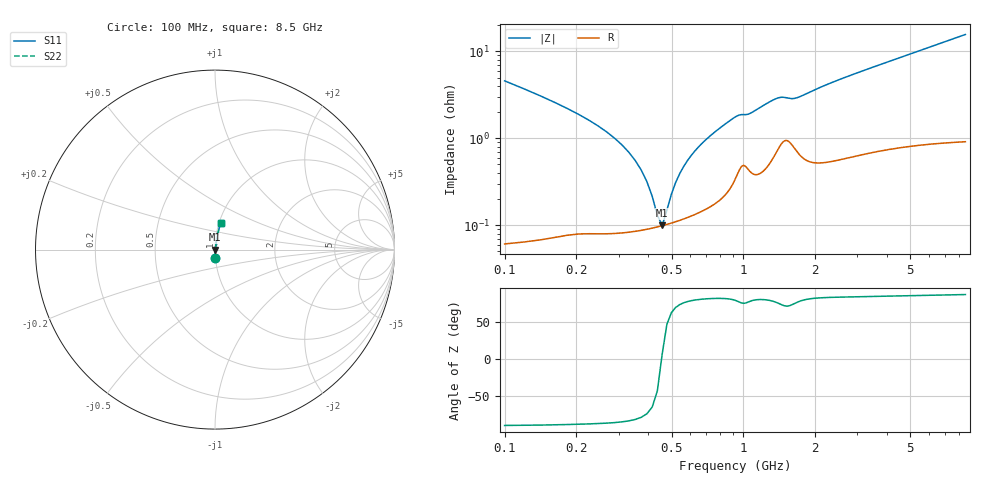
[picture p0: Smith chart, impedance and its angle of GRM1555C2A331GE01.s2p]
!Murata Part Number: GRM1555C2A331GE01
!These Parameters are Measured in Series Mode Connection
!Data Generated on Mar 30, 2021
!  o--ll--o
!Port1  Port2
!  o------o
!Operation Temp=25[degC], DC Bias Voltage=0[V]
!Freq. Start=100[MHz] Stop=9[GHz] 401[Steps]
# Hz S RI R 50
!Freq.(Hz) S11(Real) S11(Imag) S21(Real) S21(Imag) S12(Real) S12(Imag) S22(Real) S22(Imag)
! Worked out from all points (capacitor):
!   401 points, 100 MHz to 8.5 GHz, reference 50 ohm
!   read as one part in series: C = 331 pF near 142 MHz
!   lowest |Z| = 99.4 mohm at 457 MHz (marker M1)
!   series resonance near 454.5 MHz, so ESL is about 370 pH
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1e8  0.0027 -0.0456  0.9973 0.0456  0.9973 0.0456  0.0027 -0.0456
1.42e8  0.00161 -0.0305  0.9984 0.0305  0.9984 0.0305  0.00161 -0.0305
3.1e8  0.000884 -0.00833  0.9991 0.00833  0.9991 0.00833  0.000884 -0.00833
3.73e8  0.00089 -0.00423  0.9991 0.00423  0.9991 0.00423  0.00089 -0.00423
4.15e8  0.000928 -0.00194  0.9991 0.00194  0.9991 0.00194  0.000928 -0.00194
4.36e8  0.000955 -0.000886  0.999 0.000886  0.999 0.000886  0.000955 -0.000886
4.57e8  0.000986 0.000117  0.999 -0.000117  0.999 -0.000117  0.000986 0.000117
4.78e8  0.00102 0.00108  0.999 -0.00108  0.999 -0.00108  0.00102 0.00108
5.41e8  0.00115 0.00374  0.9989 -0.00374  0.9989 -0.00374  0.00115 0.00374
6.04e8  0.00131 0.00618  0.9987 -0.00618  0.9987 -0.00618  0.00131 0.00618
6.67e8  0.00151 0.00846  0.9985 -0.00846  0.9985 -0.00846  0.00151 0.00846
7.72e8  0.00196 0.0121  0.998 -0.0121  0.998 -0.0121  0.00196 0.0121
9.4e8  0.00407 0.0175  0.9959 -0.0175  0.9959 -0.0175  0.00407 0.0175
1.36e9  0.00726 0.0272  0.9927 -0.0272  0.9927 -0.0272  0.00726 0.0272
1.507e9  0.0101 0.0272  0.9899 -0.0272  0.9899 -0.0272  0.0101 0.0272
1.654e9  0.00806 0.0276  0.9919 -0.0276  0.9919 -0.0276  0.00806 0.0276
2.242e9  0.00695 0.0408  0.993 -0.0408  0.993 -0.0408  0.00695 0.0408
2.914e9  0.00907 0.0539  0.9909 -0.0539  0.9909 -0.0539  0.00907 0.0539
4.3e9  0.0138 0.0786  0.9862 -0.0786  0.9862 -0.0786  0.0138 0.0786
5.707e9  0.0191 0.1029  0.9809 -0.1029  0.9809 -0.1029  0.0191 0.1029
7.114e9  0.0253 0.1267  0.9747 -0.1267  0.9747 -0.1267  0.0253 0.1267
8.5e9  0.0322 0.1497  0.9678 -0.1497  0.9678 -0.1497  0.0322 0.1497
